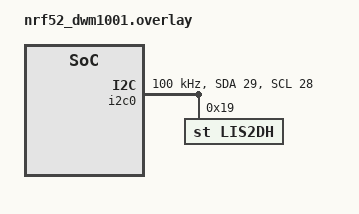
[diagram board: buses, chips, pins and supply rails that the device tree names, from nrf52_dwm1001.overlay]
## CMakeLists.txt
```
cmake_minimum_required(VERSION 3.13.1)
include($ENV{ZEPHYR_BASE}/cmake/app/boilerplate.cmake NO_POLICY_SCOPE)
project(zephyr-dwm1001)

FILE(GLOB app_sources src/*.c)
target_sources(app PRIVATE ${app_sources})

FILE(GLOB i2c_sources src/I2C/*.c)
target_sources(app PRIVATE ${i2c_sources})
```

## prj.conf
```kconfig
CONFIG_PRINTK=y
CONFIG_SENSOR=y
CONFIG_I2C=y
CONFIG_LIS2DH=y
CONFIG_ADC=y
```

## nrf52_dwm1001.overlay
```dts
&i2c0 {

    //compatible = "nordic,nrf-twi";
    clock-frequency = <I2C_BITRATE_STANDARD>;
    status = "ok";
	sda-pin = <29>;
	scl-pin = <28>;

    lis2dh@19 {
		compatible = "st,lis2dh";
		reg = <0x19>;
		//irq-gpios = <&gpio0 25 (GPIO_PULL_UP | GPIO_ACTIVE_LOW)>;
		label = "LIS2DH";
	};
};
```

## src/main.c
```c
#include <zephyr.h>
#include "I2C/accelerometer.h"
#include "I2C/mcp3421_adc.h"
#include <errno.h>
#include <misc/printk.h>
#include <device.h>
#include <i2c.h>

#define I2C_DEV "I2C_0"


#define STACKSIZE 1024
char thread_stacks[2][STACKSIZE];
static struct k_thread threads[2];

#define APP_NAME "Test - ADC over I2C\n"
#define APP_VERSION "Version - 1.4.0\n"
#define APP_VERSION_NUM 0x010400
#define APP_LINE "=================\n"


int main(void)
{
    printk(APP_NAME);
    printk(APP_VERSION);
    printk(APP_LINE);

    //k_thread_create(&threads[0], &thread_stacks[0][0], STACKSIZE, ble_thread, 0, 0, 0, K_PRIO_COOP(4), 0, 0);
    //k_thread_create(&threads[1], &thread_stacks[1][0], STACKSIZE, uwb_thread, 0, 0, 0, K_PRIO_COOP(4), 0, 0);
    //k_thread_create(&threads[0], &thread_stacks[0][0], STACKSIZE, acc_thread, 0, 0, 0, K_PRIO_COOP(4), 0, 0);

	if(init_acc())
	{
		printk("Failed to init ACC \n");
		return;
	}

	if(init_adc())
	{
		printk("Failed to init ADC \n");
		return;
	}

	uint32_t voltage;
	while(1)
	{
		if(get_acc_reading() == 0)
		{
			printk("Got ACC Value \n");
		}
		else
		{
			printk("Failed to read ADC \n");
			return;
		}

		k_sleep(500);
		
		if(get_voltage_reading(&voltage) == 0)
		{
			printk("%u mV \n", voltage);
		}
		else
		{
			printk("Failed to read ADC \n");
			return;
		}
	}
}



// #include <errno.h>
// #include <zephyr.h>
// #include <misc/printk.h>
// #include <device.h>
// #include <i2c.h>

// #define I2C_DEV "I2C_0"
// #define ADC_ADDR 0x68


// void main(void)
// {
// 	struct device *i2c_dev;

// 	printk("Starting i2c scanner...\n");

// 	i2c_dev = device_get_binding(I2C_DEV);
// 	if (!i2c_dev) {
// 		printk("I2C: Device driver not found.\n");
// 		return;
// 	}

// 	// for (u8_t i = 4; i <= 0x77; i++) {
// 	// 	struct i2c_msg msgs[1];
// 	// 	u8_t dst;

// 	// 	/* Send the address to read from */
// 	// 	msgs[0].buf = &dst;
// 	// 	msgs[0].len = 0;
// 	// 	msgs[0].flags = I2C_MSG_WRITE | I2C_MSG_STOP;

// 	// 	if (i2c_transfer(i2c_dev, &msgs[0], 1, i) == 0) {
// 	// 		//printk("0x%2x FOUND\n", i);
// 	// 		printk("%u FOUND\n", i);
// 	// 	}
// 	// }

// 	// //uint8_t write_buf[1];
// 	unsigned char write_buf[1];
// 	uint8_t config_16b_con = 24;	// 0 0 0 1 1 0 0 0
// 	uint8_t config_16b_ss = 136;	// 1 0 0 0 1 0 0 0
// 	write_buf[0] = config_16b_ss;

// 	uint8_t mask = 15;
// 	unsigned char read_buf[3];
// 	uint8_t bin_ref[] = {1, 2, 4, 8, 16, 32, 64, 128};
// 	int i;
// 	uint16_t rslt;

// 	/* Write to ADC and confure 16 bit volatage*/
// 	k_sleep(200);
// 	if(i2c_write(i2c_dev, write_buf, 1, ADC_ADDR) == 0)
// 	{
// 		printk("Successful write \n");
// 	}
// 	else
// 	{
// 		printk("Failed to write to ADC \n");
// 		return;
// 	}


// 	while(1)
// 	{
// 		k_sleep(300);

// 		//i2c_read(i2c_dev, read_buf, 2, ADC_ADDR)
// 		if((i2c_write(i2c_dev, write_buf, 1, ADC_ADDR) == 0) && (i2c_read(i2c_dev, read_buf, 3, ADC_ADDR) == 0))
// 		{
// 			for(i=7; i>=0; i--)
// 			{
// 				if((read_buf[0] & bin_ref[i]) == bin_ref[i])
// 				{
// 					printk("1");
// 				}
// 				else
// 				{
// 					printk("0");
// 				}

// 			}

// 			printk("  ");

// 			for(i=7; i>=0; i--)
// 			{
// 				if((read_buf[1] & bin_ref[i]) == bin_ref[i])
// 				{
// 					printk("1");
// 				}
// 				else
// 				{
// 					printk("0");
// 				}

// 			}

// 			for(i=7; i>=7; i--)
// 			{
// 				if((read_buf[2] & bin_ref[i]) == bin_ref[i])
// 				{
// 					printk("1");
// 				}
// 				else
// 				{
// 					printk("0");
// 				}

// 			}

// 			// printk("\n");
// 			//read_buf[0] = read_buf[0] & mask; - use for 12 bit conversion
// 			rslt = ((uint16_t)read_buf[0] << 8) | ((uint16_t)read_buf[1]);
// 			uint32_t voltage = (uint32_t)(((double)rslt / 32767) * 2048000);
// 			printk("\n%u uV\n", voltage);
			
// 		}
// 		else
// 		{
// 			printk("DATA READ FAILED \n");
// 			return;
// 		}

// 	}

// }
```
